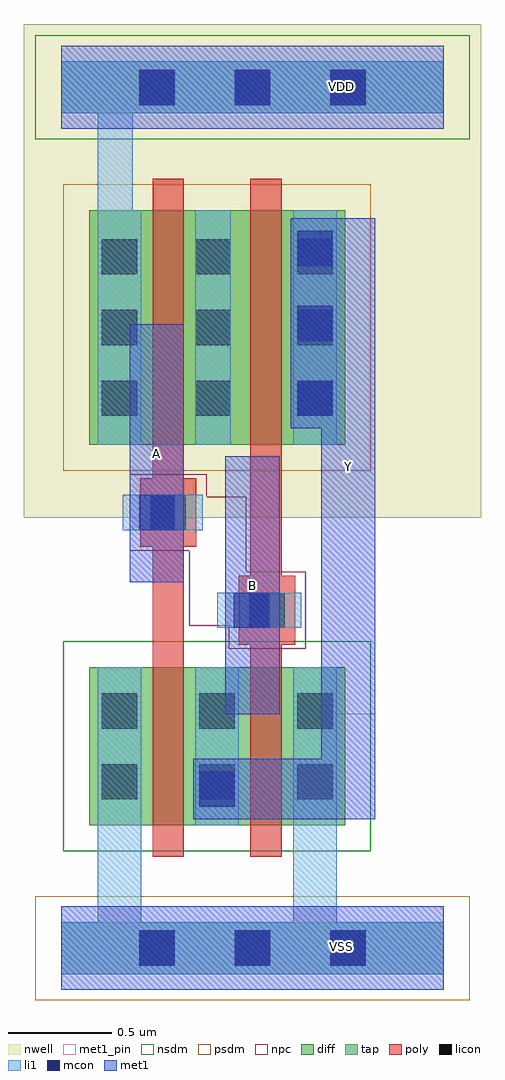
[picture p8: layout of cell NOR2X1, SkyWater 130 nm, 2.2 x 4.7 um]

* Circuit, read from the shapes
.subckt NOR2X1 A B VDD VSS Y
XM1 Y A VSS VSS sky130_fd_pr__nfet_01v8 w=0.76 l=0.15
XM2 VSS B Y VSS sky130_fd_pr__nfet_01v8 w=0.76 l=0.15
XM3 n1 A VDD VDD sky130_fd_pr__pfet_01v8 w=1.13 l=0.15
XM4 Y B n1 VDD sky130_fd_pr__pfet_01v8 w=1.13 l=0.15
.ends

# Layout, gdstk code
import gdstk
lib = gdstk.Library(unit=1e-6, precision=1e-09)
def R(c, l, rs):  # rectangles x0, y0, x1, y1
    for r in rs: c.add(gdstk.rectangle(r[:2], r[2:], *l))
def A(c, l, x, y, w, h, nx, ny, dx, dy):  # array of equal rectangles
    R(c, l, [(x+i*dx, y+j*dy, x+i*dx+w, y+j*dy+h) for i in range(nx) for j in range(ny)])
nwell = (64, 20)
diff = (65, 20)
tap = (65, 44)
poly = (66, 20)
licon = (66, 44)
li1 = (67, 20)
mcon = (67, 44)
met1_pin = (68, 16)
met1 = (68, 20)
nsdm = (93, 44)
psdm = (94, 20)
npc = (95, 20)

nor2x1 = lib.new_cell('NOR2X1')
R(nor2x1, nwell, [(-0.18,2.07,2.02,4.445)])
R(nor2x1, diff, [(0.135,0.59,1.365,1.35), (0.135,2.42,1.365,3.55)])
R(nor2x1, tap, [(0,-0.125,1.84,0.125), (0,4.015,1.84,4.265)])
R(nor2x1, poly, [(0.44,0.44,0.59,1.93), (0.91,0.44,1.06,1.46), (0.855,1.46,1.125,1.79), (0.91,1.79,1.06,3.7), (0.38,1.93,0.65,2.26), (0.44,2.26,0.59,3.7)])
A(nor2x1, licon, 0.375, -0.085, 0.17, 0.17, 3, 2, 0.46, 4.14)
A(nor2x1, licon, 0.195, 0.715, 0.17, 0.17, 3, 2, 0.47, 0.34)
A(nor2x1, licon, 0.195, 2.56, 0.17, 0.17, 1, 3, 0, 0.34)
A(nor2x1, licon, 0.645, 2.56, 0.17, 0.17, 1, 3, 0, 0.34)
A(nor2x1, licon, 1.135, 2.56, 0.17, 0.17, 1, 3, 0, 0.34)
R(nor2x1, licon, [(0.905,1.54,1.075,1.71), (0.43,2.01,0.6,2.18)])
R(nor2x1, li1, [(0,-0.125,1.84,0.125), (0.175,0.125,0.385,1.35), (1.115,0.125,1.325,1.35), (0.645,0.59,0.855,1.35), (0.75,1.54,1.155,1.71), (0.295,2.01,0.68,2.18), (0.175,2.42,0.385,3.55), (0.645,2.42,0.815,3.55), (1.115,2.42,1.325,3.55), (0.175,3.55,0.345,4.015), (0,4.015,1.84,4.265)])
A(nor2x1, mcon, 0.375, -0.085, 0.17, 0.17, 3, 2, 0.46, 4.14)
A(nor2x1, mcon, 1.135, 2.56, 0.17, 0.17, 1, 3, 0, 0.36)
R(nor2x1, mcon, [(0.665,0.68,0.835,0.85), (0.83,1.54,1,1.71), (0.375,2.01,0.545,2.18)])
R(nor2x1, met1_pin, [(0.79,1.125,1.05,2.365), (1.25,1.125,1.51,3.51), (0.33,1.76,0.59,3)])
R(nor2x1, met1, [(0,-0.2,1.84,0.2), (0.635,0.62,1.51,0.91), (1.25,0.91,1.51,2.5), (0.79,1.125,1.05,2.365), (0.33,1.76,0.59,3), (1.105,2.5,1.51,3.51), (0,3.94,1.84,4.34)])
R(nor2x1, nsdm, [(0.01,0.465,1.49,1.475), (-0.125,3.89,1.965,4.39)])
R(nor2x1, psdm, [(-0.125,-0.25,1.965,0.25), (0.01,2.295,1.49,3.675)])
R(nor2x1, npc, [(0.805,1.44,1.175,1.55), (0.615,1.55,1.175,1.81), (0.615,1.81,0.89,1.91), (0.33,1.91,0.89,2.17), (0.33,2.17,0.7,2.28)])
nor2x1.add(gdstk.Label('VDD', (1.35,4.145), layer=68, texttype=5))
nor2x1.add(gdstk.Label('VSS', (1.35,0.005), layer=68, texttype=5))
nor2x1.add(gdstk.Label('Y', (1.38,2.317), layer=68, texttype=5))
nor2x1.add(gdstk.Label('B', (0.92,1.745), layer=68, texttype=5))
nor2x1.add(gdstk.Label('A', (0.46,2.38), layer=68, texttype=5))

lib.write_gds('NOR2X1.gds')
